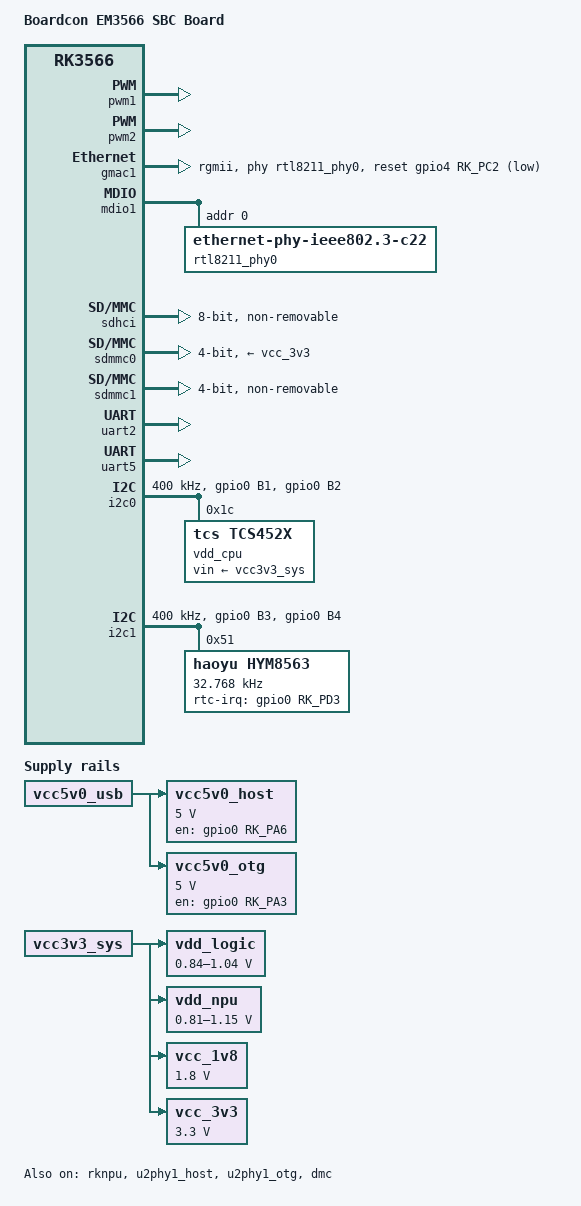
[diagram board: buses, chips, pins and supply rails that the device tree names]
// SPDX-License-Identifier: (GPL-2.0+ OR MIT)
/*
 * Copyright (c) 2020 Rockchip Electronics Co., Ltd.
 * Copyright (c) 2022 Tano Systems LLC
 */

/dts-v1/;

#include <dt-bindings/gpio/gpio.h>
#include <dt-bindings/display/media-bus-format.h>
#include <dt-bindings/display/rockchip_vop.h>
#include <dt-bindings/pinctrl/rockchip.h>
#include "rk3566.dtsi"
#include "boardcon-em356x.dtsi"

/ {
	revision = "20220721.1";

	model = "Boardcon EM3566 SBC Board";
	compatible = "boardcon,em3566", "rockchip,rk3566";

	chosen: chosen {
		bootargs = "earlycon=uart8250,mmio32,0xfe680000 console=ttyFIQ0";
	};

	fiq-debugger {
		rockchip,serial-id = <4>;
		pinctrl-names = "default";
		pinctrl-0 = <&uart4m0_xfer>;
		status = "okay";
	};

	reserved-memory {
		#address-cells = <2>;
		#size-cells = <2>;
		ranges;

		rknpu_reserved: rknpu {
			compatible = "shared-dma-pool";
			inactive;
			reusable;
			size = <0x0 0x20000000>;
			alignment = <0x0 0x1000>;
			status = "disabled";
		};
	};

	vcc5v0_host: vcc5v0-host-regulator {
		compatible = "regulator-fixed";
		regulator-name = "vcc5v0_host";
		regulator-boot-on;
		regulator-always-on;
		regulator-min-microvolt = <5000000>;
		regulator-max-microvolt = <5000000>;
		enable-active-high;
		gpio = <&gpio0 RK_PA6 GPIO_ACTIVE_HIGH>;
		vin-supply = <&vcc5v0_usb>;
		pinctrl-names = "default";
		pinctrl-0 = <&vcc5v0_host_en>;
	};

	vcc5v0_otg: vcc5v0-otg-regulator {
		compatible = "regulator-fixed";
		regulator-name = "vcc5v0_otg";
		regulator-min-microvolt = <5000000>;
		regulator-max-microvolt = <5000000>;
		enable-active-high;
		gpio = <&gpio0 RK_PA3 GPIO_ACTIVE_HIGH>;
		vin-supply = <&vcc5v0_usb>;
		pinctrl-names = "default";
		pinctrl-0 = <&vcc5v0_otg_en>;
	};

	vdd_logic: vdd-logic {
		compatible = "pwm-regulator";
		pwms = <&pwm1 0 5000 1>;
		regulator-name = "vdd_logic";
		regulator-min-microvolt = <840000>;
		regulator-max-microvolt = <1040000>;
		regulator-init-microvolt = <900000>;
		regulator-always-on;
		regulator-boot-on;
		regulator-settling-time-up-us = <250>;
		pwm-supply = <&vcc3v3_sys>;
		status = "okay";
	};

	vdd_npu: vdd-npu {
		compatible = "pwm-regulator";
		pwms = <&pwm2 0 5000 1>;
		regulator-name = "vdd_npu";
		regulator-min-microvolt = <810000>;
		regulator-max-microvolt = <1150000>;
		regulator-init-microvolt = <900000>;
		regulator-always-on;
		regulator-boot-on;
		regulator-settling-time-up-us = <250>;
		pwm-supply = <&vcc3v3_sys>;
		status = "okay";
	};

	vcc_1v8: vcc_1v8 {
		compatible = "regulator-fixed";
		regulator-name = "vcc_1v8";
		regulator-always-on;
		regulator-boot-on;
		regulator-min-microvolt = <1800000>;
		regulator-max-microvolt = <1800000>;
		vin-supply = <&vcc3v3_sys>;
	};

	vcc_3v3: vcc_3v3 {
		compatible = "regulator-fixed";
		regulator-name = "vcc_3v3";
		regulator-always-on;
		regulator-boot-on;
		regulator-min-microvolt = <3300000>;
		regulator-max-microvolt = <3300000>;
		vin-supply = <&vcc3v3_sys>;
	};
};

/* VDD Logic regulator */
&pwm1 {
	status = "okay";
	pinctrl-names = "active";
};

/* VDD NPU Regulator */
&pwm2 {
	status = "okay";
	pinctrl-names = "active";
};

&gmac1 {
	phy-mode = "rgmii";
	clock_in_out = "output";

	snps,reset-gpio = <&gpio4 RK_PC2 GPIO_ACTIVE_LOW>;
	snps,reset-active-low;
	/* Reset time is 20ms, 100ms for rtl8211f */
	snps,reset-delays-us = <0 20000 100000>;

	assigned-clocks = <&cru SCLK_GMAC1_RX_TX>, <&cru SCLK_GMAC1>;
	assigned-clock-parents = <&cru SCLK_GMAC1_RGMII_SPEED>, <&cru CLK_MAC1_2TOP>;
	assigned-clock-rates = <0>, <125000000>;

	pinctrl-names = "default";
	pinctrl-0 = <&gmac1m0_miim
	             &gmac1m0_clkinout
	             &gmac1m0_tx_bus2
	             &gmac1m0_rx_bus2
	             &gmac1m0_rgmii_clk
	             &gmac1m0_rgmii_bus>;

	tx_delay = <0x4f>;
	rx_delay = <0x25>;

	phy-handle = <&rtl8211_phy0>;
	status = "okay";
};

&mdio1 {
	rtl8211_phy0: phy@0 {
		/* RTL8211 */
		compatible = "ethernet-phy-ieee802.3-c22";
		reg = <0x0>;

		pinctrl-names = "default";
		pinctrl-0 = <&rtl8211phy_pins>;
	};
};

/* eMMC */
&sdhci {
	bus-width = <8>;
	supports-emmc;
	non-removable;
	max-frequency = <200000000>;
	pinctrl-names = "default";
	pinctrl-0 = <&emmc_bus8 &emmc_clk &emmc_cmd>;
	status = "okay";
};

/* SD-Card
 * Supports only 3.3V */
&sdmmc0 {
	max-frequency = <50000000>;
	bus-width = <4>;
	cap-mmc-highspeed;
	cap-sd-highspeed;
	supports-sd;
	card-detect-delay = <300>;
	vmmc-supply = <&vcc_3v3>;
	pinctrl-names = "default";
	pinctrl-0 = <&sdmmc0_bus4 &sdmmc0_clk &sdmmc0_cmd &sdmmc0_det>;
	status = "okay";
};

/* SDIO */
&sdmmc1 {
	max-frequency = <150000000>;
	supports-sdio;
	bus-width = <4>;
	disable-wp;
	cap-sd-highspeed;
	cap-sdio-irq;
	keep-power-in-suspend;
	non-removable;
	pinctrl-names = "default";
	pinctrl-0 = <&sdmmc1_bus4 &sdmmc1_cmd &sdmmc1_clk>;
	sd-uhs-sdr104;
	status = "okay";
};

&sdmmc2 {
	status = "disabled";
};

/* J10 */
&uart2 {
	pinctrl-names = "default";
	pinctrl-0 = <&uart2m0_xfer>;
	status = "okay";
};

/* J11 (UART4) - Debug */

/* J12 */
&uart5 {
	pinctrl-names = "default";
	pinctrl-0 = <&uart5m1_xfer>;
	status = "okay";
};

&i2c0 {
	status = "okay";
	clock-frequency = <400000>;

	pinctrl-names = "default";
	pinctrl-0 = <&i2c0_xfer>;

	vdd_cpu: tcs4525@1c {
		compatible = "tcs,tcs452x";
		reg = <0x1c>;
		vin-supply = <&vcc3v3_sys>;
		regulator-compatible = "fan53555-reg";
		regulator-name = "vdd_cpu";
		regulator-min-microvolt = <712500>;
		regulator-max-microvolt = <1390000>;
		regulator-init-microvolt = <900000>;
		regulator-ramp-delay = <2300>;
		fcs,suspend-voltage-selector = <1>;
		regulator-boot-on;
		regulator-always-on;
		regulator-state-mem {
			regulator-off-in-suspend;
		};
	};
};

&i2c1 {
	status = "okay";
	clock-frequency = <400000>;

	pinctrl-names = "default";
	pinctrl-0 = <&i2c1_xfer>;

	/* RTC H8563S (interrupt on GPIO0_D3) */
	hym8563: hym8563@51 {
		compatible = "haoyu,hym8563";
		reg = <0x51>;

		#clock-cells = <0>;

		rtc-irq-gpio = <&gpio0 RK_PD3 IRQ_TYPE_EDGE_FALLING>;
		clock-frequency = <32768>;

		pinctrl-names = "default";
		pinctrl-0 = <&hym8563_pins>;
	};
};

&pinctrl {
	hym8563 {
		hym8563_pins: hym8563-pins {
			rockchip,pins = <0 RK_PD3 RK_FUNC_GPIO &pcfg_pull_up>; /* RTC_INT */
		};
	};

	i2c0 {
		i2c0_xfer: i2c0-xfer {
			rockchip,pins =
				/* i2c0_scl */ <0 RK_PB1 1 &pcfg_pull_up>,
				/* i2c0_sda */ <0 RK_PB2 1 &pcfg_pull_up>;
		};
	};

	i2c1 {
		i2c1_xfer: i2c1-xfer {
			rockchip,pins =
				/* i2c1_scl */ <0 RK_PB3 1 &pcfg_pull_up>,
				/* i2c1_sda */ <0 RK_PB4 1 &pcfg_pull_up>;
		};
	};

	phy {
		rtl8211phy_pins: rtl8211-phy {
			rockchip,pins = <4 RK_PC2 RK_FUNC_GPIO &pcfg_pull_up>, /* PHY reset */
			                <4 RK_PC3 RK_FUNC_GPIO &pcfg_pull_up>; /* PHY_INT */
		};
	};

	usb {
		vcc5v0_host_en: vcc5v0-host-en {
			rockchip,pins = <0 RK_PA6 RK_FUNC_GPIO &pcfg_pull_down>;
		};

		vcc5v0_otg_en: vcc5v0-otg-en {
			rockchip,pins = <0 RK_PA3 RK_FUNC_GPIO &pcfg_pull_down>;
		};
	};

	sdio-pwrseq {
		wifi_enable_h: wifi-enable-h {
			rockchip,pins = <3 RK_PD5 RK_FUNC_GPIO &pcfg_pull_none>;
		};
	};
};

/* OLD RK3566 */
&gpu_opp_table {
	/delete-node/ opp-800000000;
};

&hdmi_sound {
	status = "disabled";
};

&rknpu {
	memory-region = <&rknpu_reserved>;
	rknpu-supply = <&vdd_fixed>;
	status = "okay";
};

&u2phy1_host {
	phy-supply = <&vcc5v0_host>;
	status = "okay";
};

&u2phy1_otg {
	phy-supply = <&vcc5v0_host>;
	status = "okay";
};

&dmc {
	auto-freq-en = <0>;
	center-supply = <&vdd_fixed>;
	status = "okay";

	system-status-freq = <
		/*system status         freq(KHz)*/
		SYS_STATUS_NORMAL       780000
		SYS_STATUS_REBOOT       1056000
		SYS_STATUS_SUSPEND      324000
		SYS_STATUS_VIDEO_4K     780000
		SYS_STATUS_VIDEO_4K_10B 780000
		SYS_STATUS_BOOST        1056000
		SYS_STATUS_ISP          1056000
		SYS_STATUS_PERFORMANCE  1056000
		SYS_STATUS_DUALVIEW     1056000
	>;
};

&dmc_opp_table {
	opp-1056000000 {
		opp-hz = /bits/ 64 <1056000000>;
		opp-microvolt = <900000>;
		opp-microvolt-L0 = <900000>;
		opp-microvolt-L1 = <850000>;
	};
	/delete-node/ opp-1560000000;
};

&vop {
	disable-win-move;
};
